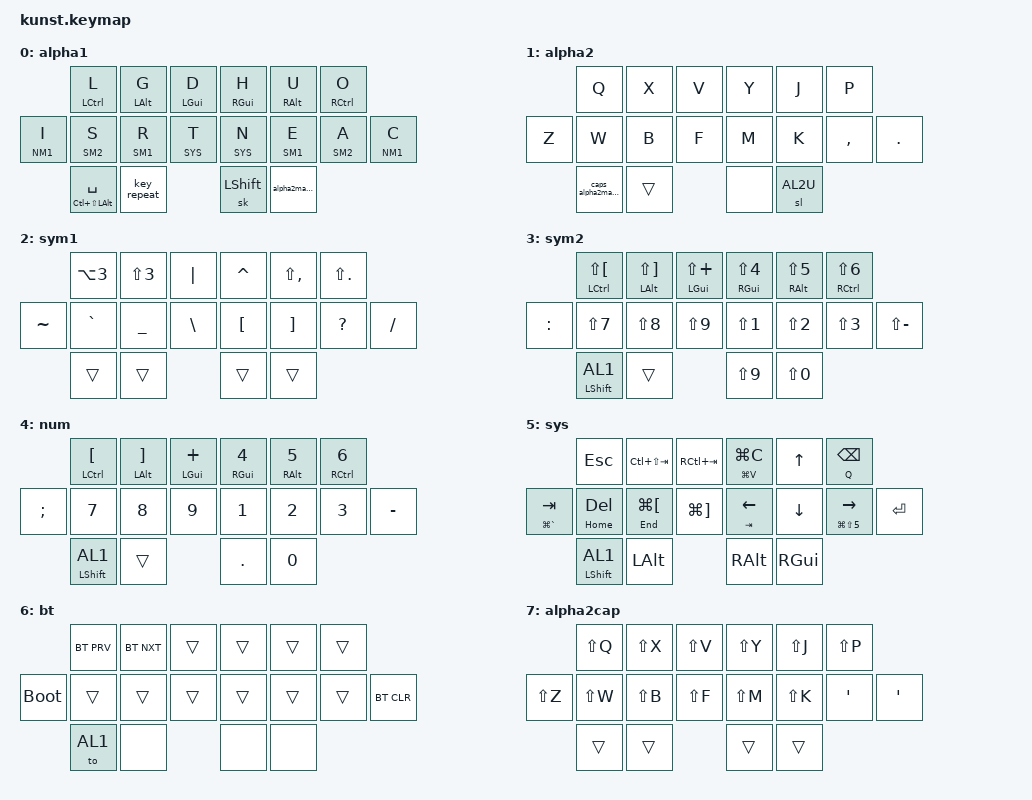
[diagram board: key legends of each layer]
/*
 * Copyright (c) 2020 The ZMK Contributors
 *
 * SPDX-License-Identifier: MIT
 */

#include <behaviors.dtsi>
#include <dt-bindings/zmk/keys.h>
#include <dt-bindings/zmk/bt.h>
#include <dt-bindings/zmk/mouse.h>



&mt {
	tapping-term-ms = <201>;
	flavor = "tap-preferred";
};
&sk {
	release-after-ms = <2000>;
	quick-release;
};

/* Layers */
#define AL1 0
#define AL2 1
#define SM1 2
#define SM2 3	
#define NM1 4	
#define SYS 5
#define BT 6	
#define AL2U 7
/ { 
	combos {
		compatible = "zmk,combos";
		combo_sys {
			timeout-ms = <30>;
			key-positions = <3 4 5>;
			bindings = <&to SYS>;
		};
		combo_caps {
			timeout-ms = <30>;
			key-positions = <10 11 12>;
			bindings = <&caps_word>;
		};
		combo_bt  {
			timeout-ms = <10>;
			key-positions = <11 12>;
			bindings = <&to BT>;
			layers = <SM1>; 
		};
		lalt {
			timeout-ms = <20>;
			key-positions = <8 9>;
			bindings = <&kp LALT>; 
			layers = <SYS>; 
		};
		lclk {
			timeout-ms = <20>;
			key-positions = <10 11>;
			bindings = <&mkp LCLK>;
			layers = <SYS>;
		};
		rclk {
			timeout-ms = <20>;
			key-positions = <3 4>;
			bindings = <&mkp RCLK>;
			layers = <SYS>;
		};
		combo_bkspc {
			timeout-ms = <30>;
			key-positions = <11 12>;
			bindings = <&kp BKSP>;
		};
    		combo_enter {
			timeout-ms = <30>;
			key-positions = <4 5>;
			bindings = <&kp RET>;
   		 };
 	 	combo_tab {
			timeout-ms = <30>;
			key-positions = <0 1>;
			bindings = <&kp TAB>;
    		};
    		combo_esc {
			timeout-ms = <30>;
			key-positions = <7 8>;
			bindings = <&kp ESC>;
	 	};

	};

	behaviors {
		hm_l: homerow_mods_left {
			compatible = "zmk,behavior-hold-tap";
			label = "HOMEROW_MODS_L";
			#binding-cells = <2>;
			tapping-term-ms = <300>;
			quick-tap-ms = <250>;
			flavor = "tap-preferred";
			bindings = <&kp>, <&kp>;
			hold-trigger-key-positions = <3 4 5 10 11 12 13 14>; // right hand
		};
		hm_r: homerow_mods_right {
			compatible = "zmk,behavior-hold-tap";
			label = "HOMEROW_MODS_R";
			#binding-cells = <2>;
			tapping-term-ms = <300>;
			quick-tap-ms = <250>;
			flavor = "tap-preferred";
			bindings = <&kp>, <&kp>;
			hold-trigger-key-positions = <0 1 2 6 7 8 9>; // left hand
		};
		sr: shift_layer {
			compatible = "zmk,behavior-hold-tap";
			label = "SHIFT_LAYER";
			#binding-cells = <2>;
			tapping-term-ms = <300>;
			quick_tap_ms = <0>;
			flavor = "tap-preferred";
			bindings = <&kp>, <&to>;
			retro-tap;
		};
		hl_l: homerow_layers_left {
			compatible = "zmk,behavior-hold-tap";
			label = "HOMEROW_LAYERS_L";
			#binding-cells = <2>;
			tapping-term-ms = <220>;
			quick-tap-ms = <250>;
			flavor = "tap-preferred";
			bindings = <&mo>, <&kp>;
			hold-trigger-key-positions = <3 4 5 10 11 12 13 14>; // right hand
		};
		hl_r: homerow_layers_right {
			compatible = "zmk,behavior-hold-tap";
			label = "HOMEROW_LAYERS_R";
			#binding-cells = <2>;
			tapping-term-ms = <220>;
			quick-tap-ms = <250>;
			flavor = "tap-preferred";
			bindings = <&mo>, <&kp>;
			hold-trigger-key-positions = <0 1 2 6 7 8 9>; // left hand
		};
		td: tapdance {
			compatible = "zmk,behavior-hold-tap";
			label = "TAPDANCE";
			#binding-cells = <2>;
			tapping-term-ms = <190>;
			quick-tap-ms = <250>;
			flavor = "tap-preferred";
			bindings = <&kp>, <&kp>;
		};
		alpha2macro: behavior_macro_1 {
			compatible = "zmk,behavior-macro";
			label = "MACRO1";
			#binding-cells = <0>;
			bindings = < &sl AL2 >;
		};
		caps_alpha2macro: behavior_macro_2 {
			compatible = "zmk,behavior-macro";
			label = "MACRO2";
			#binding-cells = <0>;
			bindings = < &sl AL2U >;
		};
	};

	//			00	01	02			03	04	05
	//		06	07	08	09			10	11	12	13
	//					14	15	16	17

	keymap {
		compatible = "zmk,keymap";

		alpha1 {
			bindings = <
								&hm_l LCTL L	&hm_l LALT G	&hm_l LGUI D		&hm_r RGUI H	&hm_r RALT U	&hm_r RCTL O	  
				&hl_l NM1 I		&hl_l SM2 S		&hl_l SM1 R		&hl_l SYS T			&hl_r SYS N		&hl_r SM1 E		&hl_r SM2 A		&hl_r NM1 C
								&mt LC(LS(LALT)) SPC	&key_repeat					&sk LSHIFT	&alpha2macro
			>;
		};

		alpha2 {
			bindings = <
						&kp Q	&kp X	&kp V		&kp Y	&kp J		&kp P
				&kp Z	&kp W	&kp B	&kp F		&kp M	&kp K		&kp COMMA	&kp DOT 
						&caps_alpha2macro	&trans			&none	&sl AL2U	
			>;
		};

		sym1 {
			bindings = <
							&kp LA(N3)	&kp LS(N3)	&kp PIPE	&kp CARET	&kp LS(COMMA)	&kp LS(DOT)		
			&kp TILDE	&kp GRAVE	&kp UNDER	&kp BSLH		&kp LBKT		&kp RBKT		&kp QMARK &kp FSLH
							&trans	&trans							&trans	&trans
			>;
		};

		sym2 {
		bindings = <
				&hm_l LCTL LS(LBKT) 	&hm_l LALT LS(RBKT)	&hm_l LGUI LS(PLUS) 		&hm_r RGUI LS(N4) 	&hm_r RALT LS(N5)		&hm_r RCTL LS(N6)	
		&kp COLON	&kp LS(N7) 	&kp LS(N8)		&kp LS(N9)		&kp LS(N1)		&kp LS(N2)			&kp LS(N3)   	&kp LS(MINUS)
							&sr LSHIFT AL1 		&trans 		&kp LS(N9) 			&kp LS(N0)  	 
		>;
		};

		num {
		bindings = <
				&hm_l LCTL LBKT 	&hm_l LALT RBKT	&hm_l LGUI PLUS 		&hm_r RGUI N4 	&hm_r RALT N5		&hm_r RCTL N6	
		&kp SEMI	&kp N7 	&kp N8		&kp N9		&kp N1		&kp N2			&kp N3   	&kp MINUS
							&sr LSHIFT AL1 		&trans 		&kp DOT 			&kp N0  	 
		>;
		};

		sys {
			bindings = <
									&kp ESC			&kp LC(LS(TAB))		&kp RC(TAB)			&td LG(V) LG(C)		&kp UP		&td Q BKSP
				&td LG(GRAVE) TAB	&td HOME DEL	&td END LG(LBKT)	&kp LG(RBKT)		&td TAB LEFT		&kp DOWN	&td  LG(LS(N5)) RIGHT	&kp RET
									&sr LSHIFT AL1		&kp LALT							&kp RALT	&kp RGUI
			>;
		};

		bt {
			bindings = <
								&bt BT_PRV	&bt BT_NXT	&trans			&trans	&trans	&trans
				&bootloader		&trans		&trans		&trans			&trans	&trans	&trans	&bt BT_CLR
								&to AL1		&none						&none	&none
			>;
		};

		alpha2cap {
			bindings = <
							&kp LS(Q)	&kp LS(X)	&kp LS(V)		&kp LS(Y)	&kp LS(J)		&kp LS(P)
				&kp LS(Z)	&kp LS(W)	&kp LS(B)	&kp LS(F)		&kp LS(M)	&kp LS(K)	&kp APOS	&kp SQT 
							&trans	&trans							&trans	&trans
			>;
		};

	};
};
